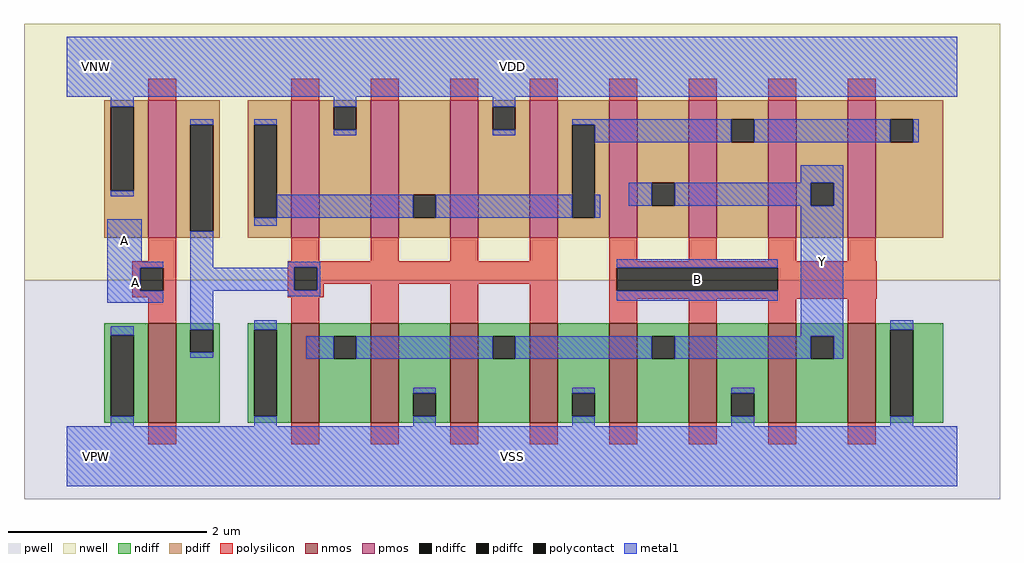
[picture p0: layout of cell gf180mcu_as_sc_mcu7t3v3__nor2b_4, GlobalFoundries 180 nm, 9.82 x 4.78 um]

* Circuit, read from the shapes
.subckt gf180mcu_as_sc_mcu7t3v3__nor2b_4 VDD VNW VPW VSS Y A B
XM1 n1 A VSS VPW nfet_03v3 w=1u l=0.28u
XM2 Y n1 VSS VPW nfet_03v3 w=1u l=0.28u m=4
XM3 Y B VSS VPW nfet_03v3 w=1u l=0.28u m=4
XM4 n1 A VDD VNW pfet_03v3 w=1.38u l=0.28u
XM5 VDD n1 n2 VNW pfet_03v3 w=1.38u l=0.28u m=4
XM6 Y B n2 VNW pfet_03v3 w=1.38u l=0.28u m=4
.ends

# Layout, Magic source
magic
tech gf180mcuD
magscale 1 10
<< nwell >>
rect -86 354 1878 870
<< pwell >>
rect -86 -86 1878 354
<< nmos >>
rect 164 68 220 268
rect 452 68 508 268
rect 612 68 668 268
rect 772 68 828 268
rect 932 68 988 268
rect 1092 68 1148 268
rect 1252 68 1308 268
rect 1412 68 1468 268
rect 1572 68 1628 268
<< pmos >>
rect 164 440 220 716
rect 452 440 508 716
rect 612 440 668 716
rect 772 440 828 716
rect 932 440 988 716
rect 1092 440 1148 716
rect 1252 440 1308 716
rect 1412 440 1468 716
rect 1572 440 1628 716
<< ndiff >>
rect 75 244 164 268
rect 75 81 89 244
rect 135 81 164 244
rect 75 68 164 81
rect 220 255 308 268
rect 220 209 249 255
rect 295 209 308 255
rect 220 68 308 209
rect 364 255 452 268
rect 364 81 377 255
rect 423 81 452 255
rect 364 68 452 81
rect 508 242 612 268
rect 508 196 537 242
rect 583 196 612 242
rect 508 68 612 196
rect 668 127 772 268
rect 668 81 697 127
rect 743 81 772 127
rect 668 68 772 81
rect 828 242 932 268
rect 828 196 857 242
rect 903 196 932 242
rect 828 68 932 196
rect 988 127 1092 268
rect 988 81 1017 127
rect 1063 81 1092 127
rect 988 68 1092 81
rect 1148 242 1252 268
rect 1148 196 1177 242
rect 1223 196 1252 242
rect 1148 68 1252 196
rect 1308 127 1412 268
rect 1308 81 1337 127
rect 1383 81 1412 127
rect 1308 68 1412 81
rect 1468 242 1572 268
rect 1468 196 1497 242
rect 1543 196 1572 242
rect 1468 68 1572 196
rect 1628 255 1764 268
rect 1628 81 1657 255
rect 1703 81 1764 255
rect 1628 68 1764 81
<< pdiff >>
rect 75 703 164 716
rect 75 534 89 703
rect 135 534 164 703
rect 75 440 164 534
rect 220 667 308 716
rect 220 453 249 667
rect 295 453 308 667
rect 220 440 308 453
rect 364 667 452 716
rect 364 480 377 667
rect 423 480 452 667
rect 364 440 452 480
rect 508 703 612 716
rect 508 657 537 703
rect 583 657 612 703
rect 508 440 612 657
rect 668 526 772 716
rect 668 480 697 526
rect 743 480 772 526
rect 668 440 772 480
rect 828 703 932 716
rect 828 657 857 703
rect 903 657 932 703
rect 828 440 932 657
rect 988 667 1092 716
rect 988 480 1017 667
rect 1063 480 1092 667
rect 988 440 1092 480
rect 1148 550 1252 716
rect 1148 504 1177 550
rect 1223 504 1252 550
rect 1148 440 1252 504
rect 1308 678 1412 716
rect 1308 632 1337 678
rect 1383 632 1412 678
rect 1308 440 1412 632
rect 1468 550 1572 716
rect 1468 504 1497 550
rect 1543 504 1572 550
rect 1468 440 1572 504
rect 1628 678 1764 716
rect 1628 632 1657 678
rect 1703 632 1764 678
rect 1628 440 1764 632
<< ndiffc >>
rect 89 81 135 244
rect 249 209 295 255
rect 377 81 423 255
rect 537 196 583 242
rect 697 81 743 127
rect 857 196 903 242
rect 1017 81 1063 127
rect 1177 196 1223 242
rect 1337 81 1383 127
rect 1497 196 1543 242
rect 1657 81 1703 255
<< pdiffc >>
rect 89 534 135 703
rect 249 453 295 667
rect 377 480 423 667
rect 537 657 583 703
rect 697 480 743 526
rect 857 657 903 703
rect 1017 480 1063 667
rect 1177 504 1223 550
rect 1337 632 1383 678
rect 1497 504 1543 550
rect 1657 632 1703 678
<< polysilicon >>
rect 164 716 220 760
rect 452 716 508 760
rect 612 716 668 760
rect 772 716 828 760
rect 932 716 988 760
rect 1092 716 1148 760
rect 1252 716 1308 760
rect 1412 716 1468 760
rect 1572 716 1628 760
rect 164 392 220 440
rect 452 393 508 440
rect 612 393 668 440
rect 772 393 828 440
rect 932 393 988 440
rect 132 379 220 392
rect 132 333 148 379
rect 194 333 220 379
rect 132 320 220 333
rect 445 380 988 393
rect 445 334 458 380
rect 504 347 988 380
rect 504 334 517 347
rect 445 320 517 334
rect 164 268 220 320
rect 452 268 508 320
rect 612 268 668 347
rect 772 268 828 347
rect 932 268 988 347
rect 1092 393 1148 440
rect 1252 393 1308 440
rect 1412 393 1468 440
rect 1572 393 1628 440
rect 1092 379 1630 393
rect 1092 333 1107 379
rect 1431 333 1630 379
rect 1092 317 1630 333
rect 1092 268 1148 317
rect 1252 268 1308 317
rect 1412 268 1468 317
rect 1572 268 1628 317
rect 164 24 220 68
rect 452 24 508 68
rect 612 24 668 68
rect 772 24 828 68
rect 932 24 988 68
rect 1092 24 1148 68
rect 1252 24 1308 68
rect 1412 24 1468 68
rect 1572 24 1628 68
<< polycontact >>
rect 148 333 194 379
rect 458 334 504 380
rect 1107 333 1431 379
<< metal1 >>
rect 0 724 1792 844
rect 89 703 135 724
rect 537 703 583 724
rect 89 523 135 534
rect 249 667 295 678
rect 82 391 151 477
rect 377 667 423 678
rect 537 646 583 657
rect 857 703 903 724
rect 857 646 903 657
rect 1017 667 1337 678
rect 423 480 697 526
rect 743 480 1017 526
rect 1063 632 1337 667
rect 1383 632 1657 678
rect 1703 632 1714 678
rect 1477 550 1563 586
rect 1063 480 1074 526
rect 1131 504 1177 550
rect 1223 504 1497 550
rect 1543 504 1563 550
rect 377 464 423 480
rect 82 379 194 391
rect 82 333 148 379
rect 82 309 194 333
rect 249 379 295 453
rect 445 380 510 391
rect 445 379 458 380
rect 249 334 458 379
rect 504 334 510 380
rect 249 333 510 334
rect 89 244 135 262
rect 249 255 295 333
rect 445 322 510 333
rect 1107 379 1431 397
rect 1107 313 1431 333
rect 249 198 295 209
rect 377 255 423 274
rect 89 60 135 81
rect 1477 242 1563 504
rect 482 196 537 242
rect 583 196 857 242
rect 903 196 1177 242
rect 1223 196 1497 242
rect 1543 196 1563 242
rect 1657 255 1703 274
rect 377 60 423 81
rect 697 127 743 138
rect 697 60 743 81
rect 1017 127 1063 138
rect 1017 60 1063 81
rect 1337 127 1383 138
rect 1337 60 1383 81
rect 1657 60 1703 81
rect 0 -60 1792 60
<< labels >>
flabel metal1 s 0 724 1792 844 0 FreeSans 400 0 0 0 VDD
port 1 nsew power bidirectional abutment
flabel metal1 s 0 -60 1792 60 0 FreeSans 400 0 0 0 VSS
port 4 nsew ground bidirectional abutment
flabel nwell s 10 734 110 834 0 FreeSans 400 0 0 0 VNW
port 2 nsew power bidirectional
flabel pwell s 10 -50 110 50 0 FreeSans 400 0 0 0 VPW
port 3 nsew ground bidirectional
flabel metal1 1477 196 1563 586 0 FreeSans 200 0 0 0 Y
port 5 nsew signal output
flabel metal1 1107 313 1431 397 0 FreeSans 200 0 0 0 B
port 7 nsew signal input
flabel metal1 82 309 194 391 0 FreeSans 200 0 0 0 A
port 6 nsew signal input
flabel metal1 82 391 151 477 0 FreeSans 200 0 0 0 A
port 6 nsew signal input
<< properties >>
string FIXED_BBOX 0 0 1792 784
string LEFclass CORE
string LEFsite unithd
string LEFsymmetry X Y
string MASKHINTS_NPLUS -16 -46 1808 354
string MASKHINTS_PPLUS -16 354 1808 830
<< end >>
